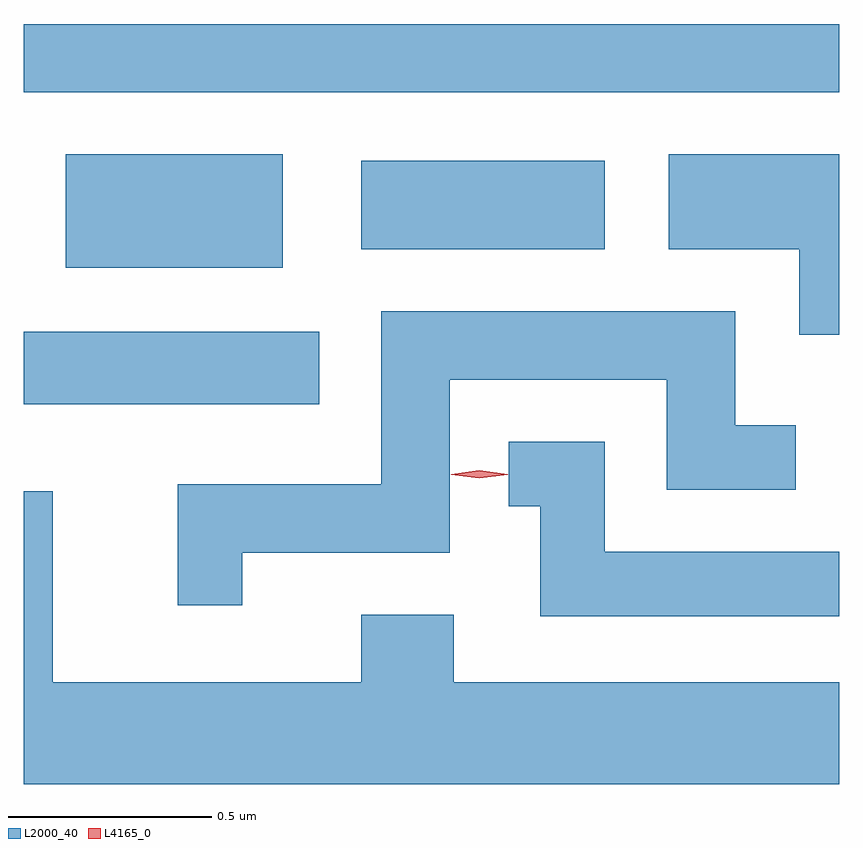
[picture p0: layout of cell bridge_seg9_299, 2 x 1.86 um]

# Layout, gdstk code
import gdstk
lib = gdstk.Library(unit=1e-6, precision=1e-09)
def R(c, l, rs):  # rectangles x0, y0, x1, y1
    for r in rs: c.add(gdstk.rectangle(r[:2], r[2:], *l))
def P(c, l, *ps):  # polygons
    for p in ps: c.add(gdstk.Polygon(p, *l))
L2000_40 = (2000, 40)
L4165_0 = (4165, 0)

bridge_seg9_299 = lib.new_cell('bridge_seg9_299')
R(bridge_seg9_299, L2000_40, [(982.914,2043.826,983.639,2044.004), (983.016,2044.161,983.549,2044.439), (983.741,2044.206,984.339,2044.424), (982.914,2044.591,984.914,2044.759)])
P(bridge_seg9_299, L2000_40, [(984.914,2044.439),(984.496,2044.439),(984.496,2044.206),(984.816,2044.206),(984.816,2043.996),(984.914,2043.996)],
  [(983.449,2043.461),(983.959,2043.461),(983.959,2043.886),(984.491,2043.886),(984.491,2043.616),(984.808,2043.616),(984.808,2043.774),(984.659,2043.774),(984.659,2044.054),(983.791,2044.054),(983.791,2043.629),(983.291,2043.629),(983.291,2043.333),(983.449,2043.333)],
  [(984.914,2043.464),(984.339,2043.464),(984.339,2043.734),(984.103,2043.734),(984.103,2043.576),(984.181,2043.576),(984.181,2043.306),(984.914,2043.306)],
  [(984.914,2043.144),(983.969,2043.144),(983.969,2043.309),(983.741,2043.309),(983.741,2043.144),(982.984,2043.144),(982.984,2043.613),(982.914,2043.613),(982.914,2042.894),(984.914,2042.894)])
P(bridge_seg9_299, L4165_0, [(984.031,2043.644),(983.962,2043.653),(983.962,2043.654),(983.962,2043.654),(984.031,2043.664),(984.101,2043.654),(984.101,2043.654),(984.101,2043.653)])

lib.write_gds('bridge_seg9_299.gds')
